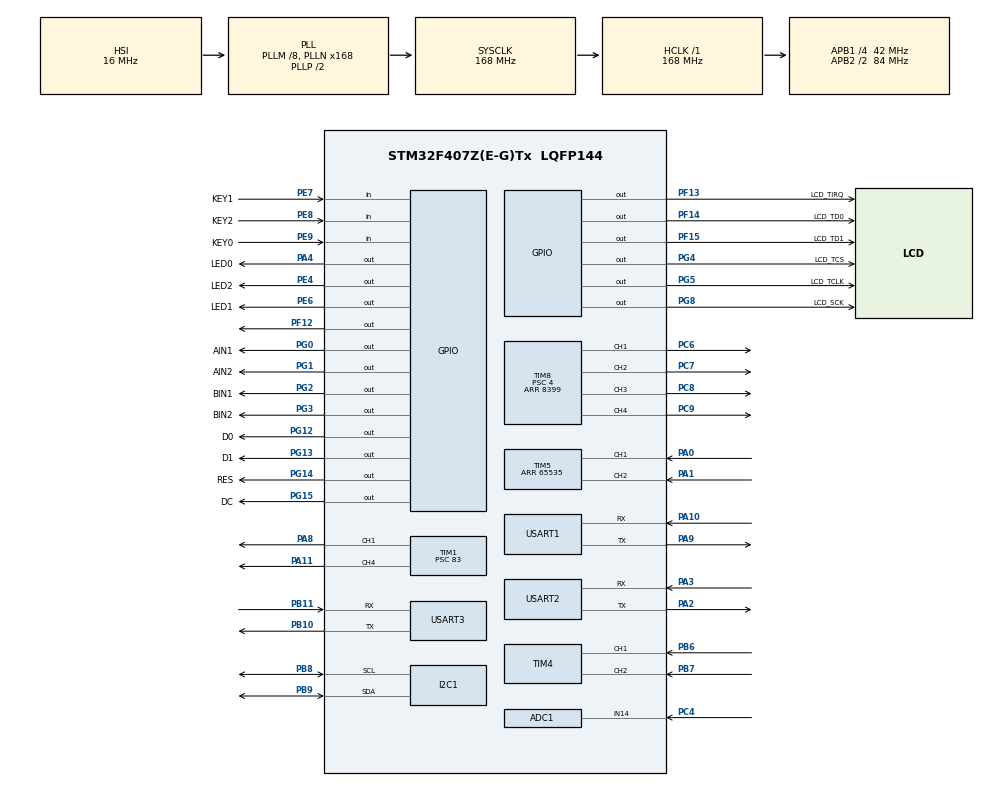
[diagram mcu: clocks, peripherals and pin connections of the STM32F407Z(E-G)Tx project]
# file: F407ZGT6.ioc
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ADC1.Channel-0\#ChannelRegularConversion=ADC_CHANNEL_14
ADC1.NbrOfConversionFlag=1
ADC1.Rank-0\#ChannelRegularConversion=1
ADC1.SamplingTime-0\#ChannelRegularConversion=ADC_SAMPLETIME_3CYCLES
ADC1.master=1
Dma.Request0=USART1_RX
Dma.Request1=USART1_TX
Dma.USART1_RX.0.Direction=DMA_PERIPH_TO_MEMORY
Dma.USART1_RX.0.FIFOMode=DMA_FIFOMODE_DISABLE
Dma.USART1_RX.0.Instance=DMA2_Stream2
Dma.USART1_RX.0.MemDataAlignment=DMA_MDATAALIGN_BYTE
Dma.USART1_RX.0.MemInc=DMA_MINC_ENABLE
Dma.USART1_RX.0.Mode=DMA_NORMAL
Dma.USART1_RX.0.PeriphDataAlignment=DMA_PDATAALIGN_BYTE
Dma.USART1_RX.0.PeriphInc=DMA_PINC_DISABLE
Dma.USART1_RX.0.Priority=DMA_PRIORITY_LOW
Dma.USART1_TX.1.Direction=DMA_MEMORY_TO_PERIPH
Dma.USART1_TX.1.FIFOMode=DMA_FIFOMODE_DISABLE
Dma.USART1_TX.1.Instance=DMA2_Stream7
Dma.USART1_TX.1.MemDataAlignment=DMA_MDATAALIGN_BYTE
Dma.USART1_TX.1.MemInc=DMA_MINC_ENABLE
Dma.USART1_TX.1.Mode=DMA_NORMAL
Dma.USART1_TX.1.PeriphDataAlignment=DMA_PDATAALIGN_BYTE
Dma.USART1_TX.1.PeriphInc=DMA_PINC_DISABLE
Dma.USART1_TX.1.Priority=DMA_PRIORITY_LOW
I2C1.I2C_Mode=I2C_Fast
Mcu.Family=STM32F4
Mcu.Name=STM32F407Z(E-G)Tx
Mcu.Package=LQFP144
NVIC.DMA2_Stream2_IRQn=true\:0\:0\:false\:false\:true\:false\:true\:true
NVIC.DMA2_Stream7_IRQn=true\:0\:0\:false\:false\:true\:false\:true\:true
NVIC.PriorityGroup=NVIC_PRIORITYGROUP_4
NVIC.TIM6_DAC_IRQn=true\:0\:0\:false\:false\:true\:true\:true\:true
NVIC.TIM7_IRQn=true\:1\:0\:true\:false\:true\:true\:true\:true
NVIC.USART1_IRQn=true\:0\:0\:false\:false\:true\:true\:true\:true
NVIC.USART2_IRQn=true\:0\:0\:false\:false\:true\:true\:true\:true
NVIC.USART3_IRQn=true\:0\:0\:false\:false\:true\:true\:true\:true
PA0-WKUP.Signal=S_TIM5_CH1
PA1.Signal=S_TIM5_CH2
PA10.Mode=Asynchronous
PA10.Signal=USART1_RX
PA11.Signal=S_TIM1_CH4
PA13.Mode=Serial_Wire
PA13.Signal=SYS_JTMS-SWDIO
PA14.Mode=Serial_Wire
PA14.Signal=SYS_JTCK-SWCLK
PA2.Mode=Asynchronous
PA2.Signal=USART2_TX
PA3.Mode=Asynchronous
PA3.Signal=USART2_RX
PA4.GPIO_Label=LED0
PA4.Signal=GPIO_Output
PA8.Signal=S_TIM1_CH1
PA9.Mode=Asynchronous
PA9.Signal=USART1_TX
PB10.Mode=Asynchronous
PB10.Signal=USART3_TX
PB11.Mode=Asynchronous
PB11.Signal=USART3_RX
PB6.Signal=S_TIM4_CH1
PB7.Signal=S_TIM4_CH2
PB8.Mode=I2C
PB8.Signal=I2C1_SCL
PB9.Mode=I2C
PB9.Signal=I2C1_SDA
PC14-OSC32_IN.Mode=LSE-External-Oscillator
PC14-OSC32_IN.Signal=RCC_OSC32_IN
PC15-OSC32_OUT.Mode=LSE-External-Oscillator
PC15-OSC32_OUT.Signal=RCC_OSC32_OUT
PC4.Signal=ADCx_IN14
PC6.Signal=S_TIM8_CH1
PC7.Signal=S_TIM8_CH2
PC8.Signal=S_TIM8_CH3
PC9.Signal=S_TIM8_CH4
PE4.GPIO_Label=LED2
PE4.Signal=GPIO_Output
PE6.GPIO_Label=LED1
PE6.Signal=GPIO_Output
PE7.GPIO_Label=KEY1
PE7.Signal=GPIO_Input
PE8.GPIO_Label=KEY2
PE8.Signal=GPIO_Input
PE9.GPIO_Label=KEY0
PE9.Signal=GPIO_Input
PF12.Signal=GPIO_Output
PF13.GPIO_Label=LCD_TIRQ
PF13.Signal=GPIO_Output
PF14.GPIO_Label=LCD_TD0
PF14.Signal=GPIO_Output
PF15.GPIO_Label=LCD_TD1
PF15.Signal=GPIO_Output
PG0.GPIO_Label=AIN1
PG0.Signal=GPIO_Output
PG1.GPIO_Label=AIN2
PG1.Signal=GPIO_Output
PG12.GPIO_Label=D0
PG12.Signal=GPIO_Output
PG13.GPIO_Label=D1
PG13.Signal=GPIO_Output
PG14.GPIO_Label=RES
PG14.Signal=GPIO_Output
PG15.GPIO_Label=DC
PG15.Signal=GPIO_Output
PG2.GPIO_Label=BIN1
PG2.Signal=GPIO_Output
PG3.GPIO_Label=BIN2
PG3.Signal=GPIO_Output
PG4.GPIO_Label=LCD_TCS
PG4.Signal=GPIO_Output
PG5.GPIO_Label=LCD_TCLK
PG5.Signal=GPIO_Output
PG8.GPIO_Label=LCD_SCK
PG8.Signal=GPIO_Output
PH0-OSC_IN.Mode=HSE-External-Oscillator
PH0-OSC_IN.Signal=RCC_OSC_IN
PH1-OSC_OUT.Mode=HSE-External-Oscillator
PH1-OSC_OUT.Signal=RCC_OSC_OUT
ProjectManager.HeapSize=0x200
ProjectManager.StackSize=0x400
ProjectManager.TargetToolchain=MDK-ARM V5.32
RCC.48MHZClocksFreq_Value=84000000
RCC.AHBFreq_Value=168000000
RCC.APB1CLKDivider=RCC_HCLK_DIV4
RCC.APB1Freq_Value=42000000
RCC.APB1TimFreq_Value=84000000
RCC.APB2CLKDivider=RCC_HCLK_DIV2
RCC.APB2Freq_Value=84000000
RCC.APB2TimFreq_Value=168000000
RCC.CortexFreq_Value=168000000
RCC.HCLKFreq_Value=168000000
RCC.HSE_VALUE=25000000
RCC.HSI_VALUE=16000000
RCC.PLLM=8
RCC.PLLN=168
RCC.SYSCLKFreq_VALUE=168000000
RCC.SYSCLKSource=RCC_SYSCLKSOURCE_PLLCLK
RCC.VCOOutputFreq_Value=336000000
SH.ADCx_IN14.0=ADC1_IN14,IN14
SH.S_TIM1_CH1.0=TIM1_CH1,PWM Generation1 CH1
SH.S_TIM1_CH4.0=TIM1_CH4,PWM Generation4 CH4
SH.S_TIM4_CH1.0=TIM4_CH1,Encoder_Interface
SH.S_TIM4_CH2.0=TIM4_CH2,Encoder_Interface
SH.S_TIM5_CH1.0=TIM5_CH1,Encoder_Interface
SH.S_TIM5_CH2.0=TIM5_CH2,Encoder_Interface
SH.S_TIM8_CH1.0=TIM8_CH1,PWM Generation1 CH1
SH.S_TIM8_CH2.0=TIM8_CH2,PWM Generation2 CH2
SH.S_TIM8_CH3.0=TIM8_CH3,PWM Generation3 CH3
SH.S_TIM8_CH4.0=TIM8_CH4,PWM Generation4 CH4
TIM1.AutoReloadPreload=TIM_AUTORELOAD_PRELOAD_ENABLE
TIM1.Channel-PWM\ Generation1\ CH1=TIM_CHANNEL_1
TIM1.Channel-PWM\ Generation4\ CH4=TIM_CHANNEL_4
TIM1.Period=19999
TIM1.Prescaler=83
TIM4.EncoderMode=TIM_ENCODERMODE_TI12
TIM4.IC1Polarity=TIM_ICPOLARITY_RISING
TIM4.IC2Polarity=TIM_ICPOLARITY_RISING
TIM5.EncoderMode=TIM_ENCODERMODE_TI12
TIM5.Period=65535
TIM6.AutoReloadPreload=TIM_AUTORELOAD_PRELOAD_ENABLE
TIM6.Period=99
TIM6.Prescaler=8399
TIM7.Period=1999
TIM7.Prescaler=8399
TIM8.Channel-PWM\ Generation1\ CH1=TIM_CHANNEL_1
TIM8.Channel-PWM\ Generation2\ CH2=TIM_CHANNEL_2
TIM8.Channel-PWM\ Generation3\ CH3=TIM_CHANNEL_3
TIM8.Channel-PWM\ Generation4\ CH4=TIM_CHANNEL_4
TIM8.OCPolarity_1=TIM_OCPOLARITY_HIGH
TIM8.OCPolarity_2=TIM_OCPOLARITY_HIGH
TIM8.OCPolarity_3=TIM_OCPOLARITY_HIGH
TIM8.OCPolarity_4=TIM_OCPOLARITY_HIGH
TIM8.Period=8399
TIM8.Prescaler=4
USART1.VirtualMode=VM_ASYNC
USART2.VirtualMode=VM_ASYNC
USART3.VirtualMode=VM_ASYNC
VP_TIM1_VS_ClockSourceINT.Mode=Internal
VP_TIM6_VS_ClockSourceINT.Mode=Enable_Timer
VP_TIM7_VS_ClockSourceINT.Mode=Enable_Timer
VP_TIM8_VS_ClockSourceINT.Mode=Internal
board=custom

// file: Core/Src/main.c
/* USER CODE BEGIN Header */
/**
  ******************************************************************************
  * @file           : main.c
  * @brief          : Main program body
  ******************************************************************************
  * @attention
  *
  * Copyright (c) 2024 STMicroelectronics.
  * All rights reserved.
  *
  * This software is licensed under terms that can be found in the LICENSE file
  * in the root directory of this software component.
  * If no LICENSE file comes with this software, it is provided AS-IS.
  *
  ******************************************************************************
  */
/* USER CODE END Header */
#include "main.h"

void SystemClock_Config(void);

/* USER CODE BEGIN 0 */
uint8_t i=0;
/* USER CODE END 0 */

int main(void)
{

  /* MCU Configuration--------------------------------------------------------*/

  /* Reset of all peripherals, Initializes the Flash interface and the Systick. */
  HAL_Init();

  /* Configure the system clock */
  SystemClock_Config();

  /* Initialize all configured peripherals */
  MX_GPIO_Init();
  MX_DMA_Init();
  MX_TIM6_Init();
  MX_TIM7_Init();
  MX_TIM8_Init();
  MX_USART1_UART_Init();
  MX_USART2_UART_Init();
  MX_USART3_UART_Init();
  MX_TIM4_Init();
  MX_ADC1_Init();
  MX_TIM5_Init();
  MX_I2C1_Init();
  MX_TIM1_Init();
  /* USER CODE BEGIN 2 */
	GPIO_Init();

	HAL_TIM_Base_Start_IT(&htim6);  //10ms
	HAL_TIM_Base_Start_IT(&htim7);  //200ms

	HAL_TIM_PWM_Start(&htim8,TIM_CHANNEL_1);
	HAL_TIM_PWM_Start(&htim8,TIM_CHANNEL_2);
	HAL_TIM_PWM_Start(&htim8,TIM_CHANNEL_3);
	HAL_TIM_PWM_Start(&htim8,TIM_CHANNEL_4);

	HAL_TIM_PWM_Start(&htim1,TIM_CHANNEL_1);//PA8-->���
	HAL_TIM_PWM_Start(&htim1,TIM_CHANNEL_4);//PA11-->���

	HAL_UART_Receive_IT(&huart1,revbuf1,sizeof(revbuf1));
	HAL_UART_Receive_IT(&huart2,revbuf2,sizeof(revbuf2));
	HAL_UART_Receive_IT(&huart3,revbuf3,sizeof(revbuf3));

	HAL_TIM_Encoder_Start(&htim5,TIM_CHANNEL_ALL);//����
	HAL_TIM_Encoder_Start(&htim4,TIM_CHANNEL_ALL);//����

	HAL_ADC_Start(&hadc1);

	PID_param_init();
	//OLED_Init();//初始化
	//������
	MPU_Init(); //��ʼ��MPU6050
	while(mpu_dmp_init()) //DMP��ʼ��
	{
		printf("DMP��ʼ��ʧ��!ʧ�ܴ��룺%d\r\n",mpu_dmp_init());
	}
	LCD_Init();
	LCD_Static_Show();
  /* USER CODE END 2 */

  /* Infinite loop */
  while (1)
  {

    /* USER CODE BEGIN 3 */
		if(mpu_dmp_get_data(&pitch, &roll, &yaw)==0)
		{
			printf("pitch:%.3f\r\n",pitch);
			printf("roll:%.3f\r\n",roll);
			printf("yaw:%.3f\r\n",yaw);
			printf("��ص�ѹ��%.2fV\r\n",ADC_Vol);
			printf("-----------------------------------------------------------\r\n");
			HAL_Delay(800);
		}
		LCD_Dynamic_Show();
		Key_Control();
  }
  /* USER CODE END 3 */
}

void SystemClock_Config(void)
{
  RCC_OscInitTypeDef RCC_OscInitStruct = {0};
  RCC_ClkInitTypeDef RCC_ClkInitStruct = {0};

  /** Configure the main internal regulator output voltage
  */
  __HAL_RCC_PWR_CLK_ENABLE();
  __HAL_PWR_VOLTAGESCALING_CONFIG(PWR_REGULATOR_VOLTAGE_SCALE1);

  /** Initializes the RCC Oscillators according to the specified parameters
  * in the RCC_OscInitTypeDef structure.
  */
  RCC_OscInitStruct.OscillatorType = RCC_OSCILLATORTYPE_HSI;
  RCC_OscInitStruct.HSIState = RCC_HSI_ON;
  RCC_OscInitStruct.HSICalibrationValue = RCC_HSICALIBRATION_DEFAULT;
  RCC_OscInitStruct.PLL.PLLState = RCC_PLL_ON;
  RCC_OscInitStruct.PLL.PLLSource = RCC_PLLSOURCE_HSI;
  RCC_OscInitStruct.PLL.PLLM = 8;
  RCC_OscInitStruct.PLL.PLLN = 168;
  RCC_OscInitStruct.PLL.PLLP = RCC_PLLP_DIV2;
  RCC_OscInitStruct.PLL.PLLQ = 4;
  if (HAL_RCC_OscConfig(&RCC_OscInitStruct) != HAL_OK)
  {
    Error_Handler();
  }

  /** Initializes the CPU, AHB and APB buses clocks
  */
  RCC_ClkInitStruct.ClockType = RCC_CLOCKTYPE_HCLK|RCC_CLOCKTYPE_SYSCLK
                              |RCC_CLOCKTYPE_PCLK1|RCC_CLOCKTYPE_PCLK2;
  RCC_ClkInitStruct.SYSCLKSource = RCC_SYSCLKSOURCE_PLLCLK;
  RCC_ClkInitStruct.AHBCLKDivider = RCC_SYSCLK_DIV1;
  RCC_ClkInitStruct.APB1CLKDivider = RCC_HCLK_DIV4;
  RCC_ClkInitStruct.APB2CLKDivider = RCC_HCLK_DIV2;

  if (HAL_RCC_ClockConfig(&RCC_ClkInitStruct, FLASH_LATENCY_5) != HAL_OK)
  {
    Error_Handler();
  }
}

void Error_Handler(void)
{
  __disable_irq();
  while (1)
  {
  }
}
